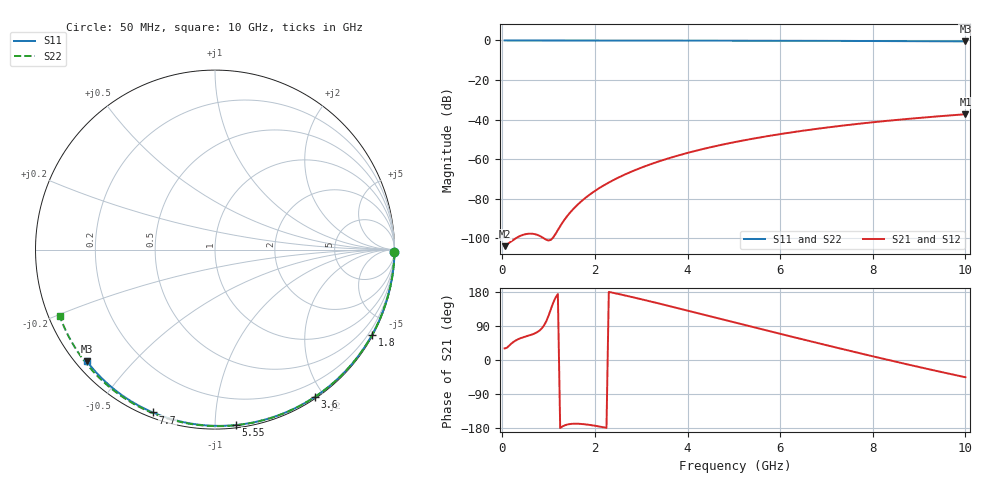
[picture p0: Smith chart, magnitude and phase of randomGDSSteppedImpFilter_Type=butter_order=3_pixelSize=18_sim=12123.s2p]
! freq	dB(S11)	phase(S11)	dB(S12)	phase(S12)
!  dB(S21)	phase(S21)	dB(S22)	phase(S22)
!S-par simulation data
#  GHz  S  DB  R 50
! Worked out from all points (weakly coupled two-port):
!   200 points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, 50 MHz to 10 GHz, reference 50 ohm
!   highest |S21| = -37.29 dB at 10 GHz (marker M1); lowest = -104.0 dB at 50 MHz (marker M2)
!   lowest |S11| = -0.5 dB at 10 GHz (marker M3), VSWR 36.79, Z = 1.55 - j18.8 ohm
!   |S11| at or under -10 dB: nowhere
!   |S22| runs from -0.5 to 0.0 dB; largest |S21 - S12| = 0
!   S11 on the Smith chart (normalised r, x): 50 MHz: open; 1.8 GHz: 0.03, -3.93; 3.6 GHz: 0.02, -1.89; 5.55 GHz: 0.02, -1.13; 7.7 GHz: 0.02, -0.69; 10 GHz: 0.03, -0.38
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0.05  -0.00 -0.8  -103.96 30.5  -103.96 30.5  -0.00 -0.9
0.45  -0.01 -7.2  -98.22 59.9  -98.22 59.9  -0.01 -8.2
0.85  -0.02 -13.6  -99.32 83.0  -99.32 83.0  -0.02 -15.4
1.3  -0.03 -20.7  -92.05 -175.2  -92.05 -175.2  -0.03 -23.4
1.75  -0.04 -27.8  -80.41 -169.3  -80.41 -169.3  -0.04 -31.4
1.8  -0.04 -28.6  -79.46 -169.9  -79.46 -169.9  -0.04 -32.3
1.95  -0.04 -30.9  -76.85 -172.4  -76.85 -172.4  -0.04 -34.9
2.1  -0.04 -33.2  -74.53 -175.6  -74.53 -175.6  -0.05 -37.5
2.3  -0.05 -36.3  -71.80 179.7  -71.80 179.7  -0.05 -40.9
2.5  -0.05 -39.3  -69.37 174.5  -69.37 174.5  -0.06 -44.4
2.9  -0.06 -45.4  -65.22 163.3  -65.22 163.3  -0.07 -51.2
3.4  -0.07 -52.8  -60.98 148.5  -60.98 148.5  -0.08 -59.5
3.6  -0.08 -55.7  -59.50 142.5  -59.50 142.5  -0.08 -62.8
4.3  -0.09 -65.8  -55.05 121.1  -55.05 121.1  -0.11 -74.0
5.05  -0.12 -76.3  -51.22 98.0  -51.22 98.0  -0.13 -85.7
5.55  -0.14 -83.1  -49.06 82.7  -49.06 82.7  -0.15 -93.3
6.1  -0.16 -90.4  -46.96 66.1  -46.96 66.1  -0.18 -101.5
6.7  -0.19 -98.2  -44.94 48.0  -44.94 48.0  -0.22 -110.2
7.7  -0.25 -110.9  -42.09 18.4  -42.09 18.4  -0.29 -124.4
8.35  -0.30 -118.9  -40.52 -0.3  -40.52 -0.3  -0.34 -133.5
9.2  -0.38 -129.2  -38.75 -24.1  -38.75 -24.1  -0.43 -145.5
10  -0.47 -138.9  -37.29 -45.5  -37.29 -45.5  -0.53 -156.8
